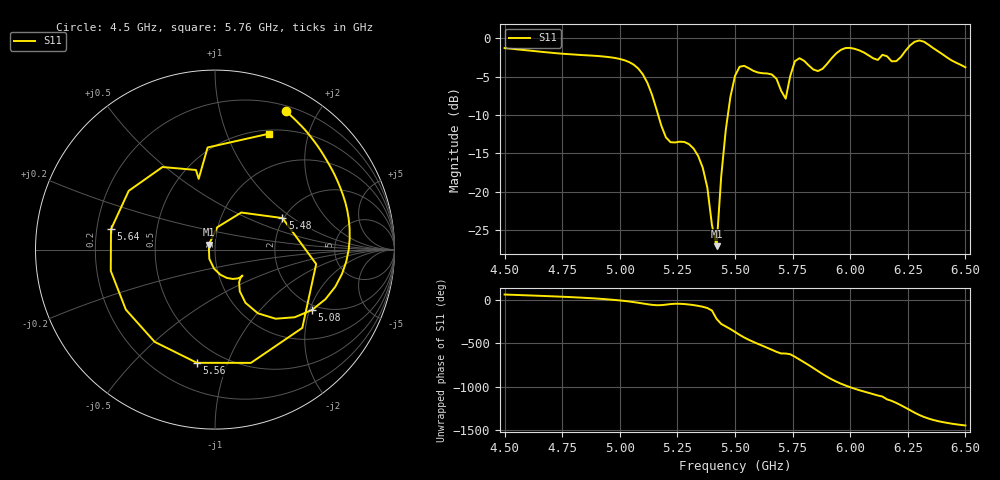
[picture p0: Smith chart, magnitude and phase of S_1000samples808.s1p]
! TOUCHSTONE file generated by CST MICROWAVE STUDIO
! Date and time: Sat Oct 29 11:18:33 2022
! Project name: L.cst
! Parameters = {Di=1.27; Epsilon_r=1.56; InnerDiameter=1.27; Length=2; Lf=10; Lg=60; OuterConductorThickness=0.2921; OuterDiameter=3.6; Wf=3; Wp=41.2; de=1.5; df=6.8; g=0.8; gx=1.18634; gy=1.49781; h=2.34; hf=1.524; px=9.02919; py=14.6511; w=9.7; wx=7.84285; wy=13.1533}
! Header version: 2018
! Port assignment regex: !\s*Touchstone port\s*([0-9]+)\s*=\s*(CST MWS port|CST DS port)\s*([0-9]+|Zmin|Zmax)\s*\(\"(.*)\"\)(\s*mode\s*([0-9]+))?.*
! Touchstone port assignment:
! Touchstone port 1 = CST MWS port 1 ("")
# GHz S DB R 50
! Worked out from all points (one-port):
!   101 points, 4.5 GHz to 6.5 GHz, reference 50 ohm
!   lowest |S11| = -27.1 dB at 5.42 GHz (marker M1), VSWR 1.09, Z = 46.6 + j2.53 ohm
!   |S11| at or under -10 dB: 5.167 GHz to 5.469 GHz (302.5 MHz wide, 5.69 % of centre)
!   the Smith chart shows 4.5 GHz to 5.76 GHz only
!   S11 on the Smith chart (normalised r, x): 4.5 GHz: 0.26, +1.61; 5.08 GHz: 1.83, -2.07; 5.48 GHz: 1.97, +0.84; 5.56 GHz: 0.37, -0.78; 5.64 GHz: 0.26, +0.09; 5.76 GHz: 0.54, +1.42
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4.5  -1.26 62.9
4.76  -2.02 36.5
5  -2.68 -5.1
5.08  -3.93 -31.9
5.16  -9.33 -60.2
5.26  -13.48 -43.6
5.36  -16.88 -77.9
5.42  -27.13 142.1
5.48  -7.64 25.0
5.5  -4.89 -8.1
5.56  -3.89 -99.1
5.64  -4.58 168.9
5.68  -5.27 122.5
5.72  -7.87 103.0
5.76  -2.97 65.2
5.8  -2.92 1.7
5.86  -4.26 -99.3
5.92  -2.57 164.8
5.96  -1.48 114.8
6  -1.24 74.2
6.08  -2.21 9.3
6.14  -2.14 -33.5
6.16  -2.33 -65.8
6.22  -2.42 -133.4
6.26  -0.90 169.2
6.32  -0.43 91.7
6.38  -1.65 43.9
6.5  -3.77 -6.6
